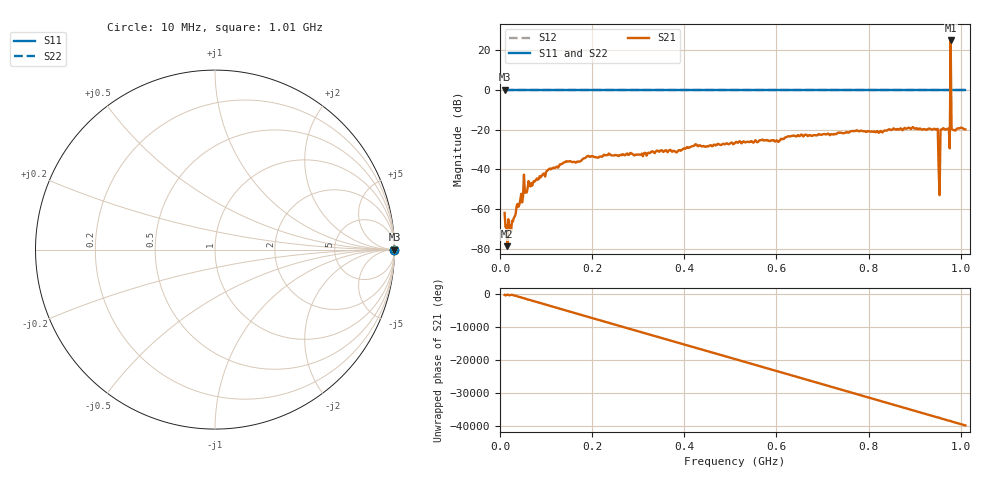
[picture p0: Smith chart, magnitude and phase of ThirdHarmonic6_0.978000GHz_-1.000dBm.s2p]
! 8/16/2025 7:32:26 AM
! C:\ANRITSUVNA\TEMP\TEMP.S2P
! CHANNEL.1
! TR.MEASUREMENT
! RAW.DATA
! RF.CORRECTION.OFF
! AVERAGING.OFF
! IF.BANDWIDTH: 5KHZ
! SWEEPTYPE:  FREQ.SWEEP(Linear)
! Reference Plane Port Info
! PORT:  PORT1  PORT2
! DISTANCE:  0  m  0  m
! TIME:  0  s  0  s
! PHASE.OFFSET:  0  deg.  0  deg.
! LOSS:  0  dB  0  dB
! REF.LOSS:  0  dB  0  dB
! REF.FREQ:  0  Hz  0  Hz
! Power Info
! POWER:  -20  dBm  -20  dBm
! EFF.POWER:  -20  dBm  -20  dBm
! SOURCE.ATTEN:  0  dB  0  dB
! TEST.ATTEN:  0  dB  0  dB
# GHZ S RI R 50.0
! FREQ.GHZ  S11RE  S11IM  S21RE  S21IM  S12RE  S12IM  S22RE  S22IM
!; PortSelection: Port_12
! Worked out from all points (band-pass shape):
!   501 points, 10 MHz to 1.01 GHz, reference 50 ohm
!   highest |S21| = 24.76 dB at 978 MHz (marker M1); lowest = -78.6 dB at 16 MHz (marker M2)
!   |S21| within 3 dB of the highest: 977.8894 MHz to 978.1354 MHz (246 kHz wide, 0.0252 % of centre)
!   lowest |S11| = 0.0 dB at 10 MHz (marker M3)
!   |S11| at or under -10 dB: nowhere
!   |S22| runs from 0.0 to 0.0 dB; largest |S21 - S12| = 17
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0.01  1 0  -0.000784 -0.000166  1 0  1 0
0.016  1 0  7.15e-05 -9.25e-05  1 0  1 0
0.028  1 0  -0.000467 0.000125  1 0  1 0
0.048  1 0  0.00117 0.000891  1 0  1 0
0.064  1 0  -0.00337 0.00234  1 0  1 0
0.108  1 0  -0.00743 0.00734  1 0  1 0
0.178  1 0  -0.0174 -0.00172  1 0  1 0
0.344  1 0  0.0261 -0.0105  1 0  1 0
0.51  1 0  -0.0416 0.0196  1 0  1 0
0.678  1 0  -0.0488 -0.0494  1 0  1 0
0.844  1 0  0.099 0.0216  1 0  1 0
0.946  1 0  -0.0875 -0.0479  1 0  1 0
0.95  1 0  0.0684 0.0782  1 0  1 0
0.954  1 0  0.00195 -0.00109  1 0  1 0
0.956  1 0  -0.0955 0.0269  1 0  1 0
0.96  1 0  0.1022 0.0116  1 0  1 0
0.972  1 0  -0.0502 -0.0912  1 0  1 0
0.974  1 0  -0.1006 0.0335  1 0  1 0
0.978  1 0  -0.1676 17.29  1 0  1 0
0.982  1 0  -0.0973 -0.0216  1 0  1 0
0.984  1 0  -0.0393 0.0886  1 0  1 0
1.01  1 0  -0.0829 0.0571  1 0  1 0
